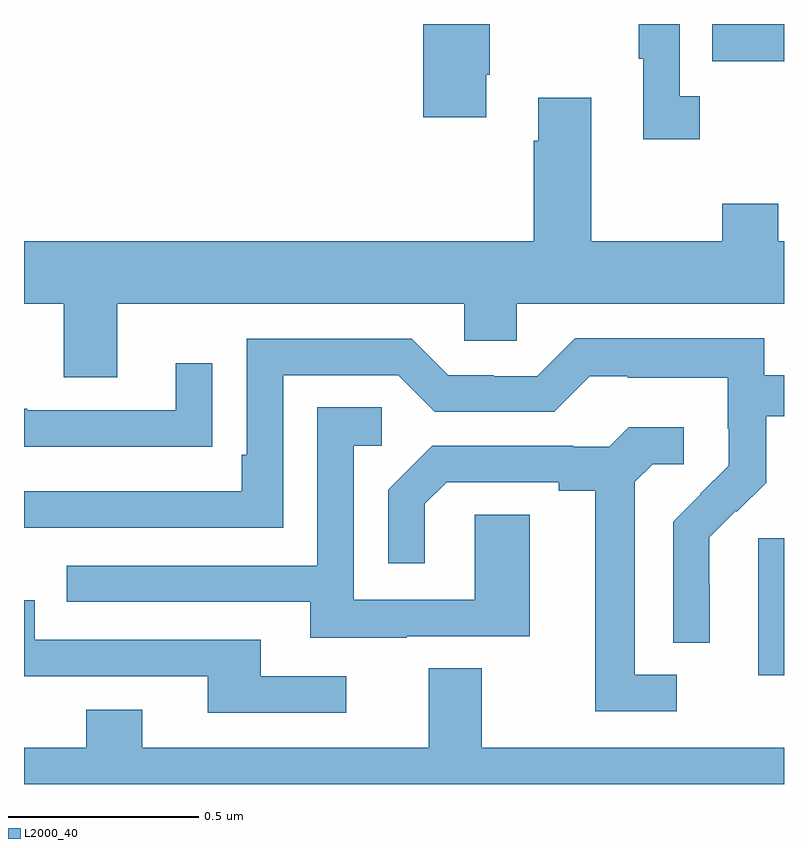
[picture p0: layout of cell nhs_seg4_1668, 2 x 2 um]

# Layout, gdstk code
import gdstk
lib = gdstk.Library(unit=1e-6, precision=1e-09)
def R(c, l, rs):  # rectangles x0, y0, x1, y1
    for r in rs: c.add(gdstk.rectangle(r[:2], r[2:], *l))
def P(c, l, *ps):  # polygons
    for p in ps: c.add(gdstk.Polygon(p, *l))
L2000_40 = (2000, 40)

nhs_seg4_1668 = lib.new_cell('nhs_seg4_1668')
R(nhs_seg4_1668, L2000_40, [(132.932,785.186,133,785.547), (132.811,786.802,133,786.9)])
P(nhs_seg4_1668, L2000_40, [(132.778,786.71),(132.726,786.71),(132.726,786.9),(132.618,786.9),(132.618,786.809),(132.629,786.809),(132.629,786.597),(132.778,786.597)],
  [(132.217,786.766),(132.225,786.766),(132.225,786.9),(132.05,786.9),(132.05,786.654),(132.217,786.654)],
  [(131.245,786.164),(132.159,786.164),(132.159,786.066),(132.297,786.066),(132.297,786.164),(133,786.164),(133,786.328),(132.985,786.328),(132.985,786.427),(132.838,786.427),(132.838,786.328),(132.493,786.328),(132.493,786.706),(132.353,786.706),(132.353,786.593),(132.341,786.593),(132.341,786.328),(131,786.328),(131,786.164),(131.105,786.164),(131.105,785.97),(131.245,785.97)],
  [(132.804,785.426),(132.803,785.426),(132.803,785.549),(132.873,785.619),(132.876,785.616),(132.953,785.693),(132.953,785.868),(133,785.868),(133,785.976),(132.948,785.976),(132.948,786.073),(132.451,786.073),(132.351,785.973),(132.236,785.973),(132.236,785.976),(132.117,785.976),(132.021,786.072),(131.586,786.072),(131.586,785.767),(131.573,785.767),(131.573,785.67),(131,785.67),(131,785.574),(131.682,785.574),(131.682,785.976),(131.985,785.976),(132.081,785.88),(132.396,785.88),(132.489,785.973),(132.589,785.973),(132.589,785.969),(132.852,785.969),(132.852,785.835),(132.854,785.835),(132.854,785.738),(132.78,785.664),(132.781,785.663),(132.708,785.59),(132.708,785.272),(132.804,785.272)],
  [(131.393,785.788),(131.495,785.788),(131.495,786.007),(131.399,786.007),(131.399,785.883),(131.009,785.883),(131.009,785.888),(131,785.888),(131,785.787),(131.393,785.787)],
  [(132.007,785.289),(132.331,785.289),(132.331,785.609),(132.186,785.609),(132.186,785.385),(131.868,785.385),(131.868,785.79),(131.941,785.79),(131.941,785.891),(131.772,785.891),(131.772,785.475),(131.113,785.475),(131.113,785.379),(131.753,785.379),(131.753,785.285),(132.007,785.285)],
  [(132.718,785.187),(132.607,785.187),(132.607,785.695),(132.654,785.742),(132.736,785.742),(132.736,785.839),(132.592,785.839),(132.54,785.787),(132.446,785.787),(132.446,785.79),(132.074,785.79),(131.958,785.674),(131.958,785.481),(132.055,785.481),(132.055,785.637),(132.112,785.694),(132.407,785.694),(132.407,785.672),(132.503,785.672),(132.503,785.091),(132.718,785.091)],
  [(131.848,785.184),(131.623,785.184),(131.623,785.28),(131.028,785.28),(131.028,785.383),(131,785.383),(131,785.184),(131.483,785.184),(131.483,785.088),(131.848,785.088)],
  [(133,784.996),(132.205,784.996),(132.205,785.204),(132.065,785.204),(132.065,784.996),(131.311,784.996),(131.311,785.095),(131.164,785.095),(131.164,784.996),(131,784.996),(131,784.9),(133,784.9)])

lib.write_gds('nhs_seg4_1668.gds')
